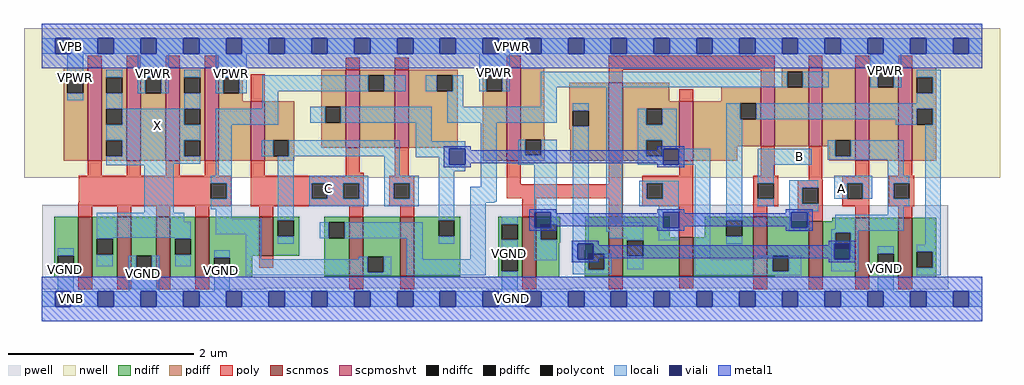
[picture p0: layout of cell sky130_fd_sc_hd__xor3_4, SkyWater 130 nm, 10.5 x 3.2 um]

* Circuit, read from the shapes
.subckt sky130_fd_sc_hd__xor3_4 A B C VGND VNB VPB VPWR X
XM1 X n1 VGND VNB sky130_fd_pr__nfet_01v8 w=0.65 l=0.15 m=4
XM2 n2 C VGND VNB sky130_fd_pr__nfet_01v8 w=0.42 l=0.15
XM3 n1 C n3 VNB sky130_fd_pr__nfet_01v8 w=0.64 l=0.15
XM4 n4 n2 n1 VNB sky130_fd_pr__nfet_01v8 w=0.64 l=0.15
XM5 n5 B VGND VNB sky130_fd_pr__nfet_01v8 w=0.65 l=0.15
XM6 n3 B n6 VNB sky130_fd_pr__nfet_01v8 w=0.64 l=0.15
XM7 n7 n5 n3 VNB sky130_fd_pr__nfet_01v8 w=0.42 l=0.15
XM8 n4 B n7 VNB sky130_fd_pr__nfet_01v8 w=0.64 l=0.15
XM9 n6 n5 n4 VNB sky130_fd_pr__nfet_01v8 w=0.6 l=0.15
XM10 VGND A n6 VNB sky130_fd_pr__nfet_01v8 w=0.64 l=0.15
XM11 n7 n6 VGND VNB sky130_fd_pr__nfet_01v8 w=0.64 l=0.15
XM12 X n1 VPWR VPB sky130_fd_pr__pfet_01v8_hvt w=1 l=0.15 m=4
XM13 n2 C VPWR VPB sky130_fd_pr__pfet_01v8_hvt w=0.64 l=0.15
XM14 n1 C n4 VPB sky130_fd_pr__pfet_01v8_hvt w=0.84 l=0.15
XM15 n3 n2 n1 VPB sky130_fd_pr__pfet_01v8_hvt w=0.84 l=0.15
XM16 n5 B VPWR VPB sky130_fd_pr__pfet_01v8_hvt w=1 l=0.15
XM17 n4 B n6 VPB sky130_fd_pr__pfet_01v8_hvt w=0.84 l=0.15
XM18 n7 n5 n4 VPB sky130_fd_pr__pfet_01v8_hvt w=0.64 l=0.15
XM19 n3 B n7 VPB sky130_fd_pr__pfet_01v8_hvt w=0.64 l=0.15
XM20 n6 n5 n3 VPB sky130_fd_pr__pfet_01v8_hvt w=0.84 l=0.15
XM21 VPWR A n6 VPB sky130_fd_pr__pfet_01v8_hvt w=1 l=0.15
XM22 n7 n6 VPWR VPB sky130_fd_pr__pfet_01v8_hvt w=1 l=0.15
.ends

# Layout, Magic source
magic
tech sky130A
magscale 1 2
<< nwell >>
rect -38 261 2062 582
<< pwell >>
rect 1 201 1637 203
rect 1 23 1951 201
rect 1 21 479 23
rect 956 21 1140 23
rect 1552 21 1951 23
rect 47 -17 81 21
<< scnmos >>
rect 79 47 109 177
rect 163 47 193 177
rect 247 47 277 177
rect 331 47 361 177
rect 468 93 498 177
rect 662 49 692 177
rect 772 49 802 177
rect 1034 47 1064 177
rect 1220 49 1250 177
rect 1372 49 1402 133
rect 1531 49 1561 177
rect 1651 47 1681 167
rect 1751 47 1781 175
rect 1843 47 1873 175
<< scpmoshvt >>
rect 99 297 129 497
rect 183 297 213 497
rect 267 297 297 497
rect 351 297 381 497
rect 450 297 480 425
rect 654 325 684 493
rect 760 325 790 493
rect 1001 297 1031 497
rect 1220 297 1250 465
rect 1372 297 1402 425
rect 1547 329 1577 457
rect 1650 329 1680 497
rect 1751 297 1781 497
rect 1843 297 1873 497
<< ndiff >>
rect 27 93 79 177
rect 27 59 35 93
rect 69 59 79 93
rect 27 47 79 59
rect 109 129 163 177
rect 109 95 119 129
rect 153 95 163 129
rect 109 47 163 95
rect 193 93 247 177
rect 193 59 203 93
rect 237 59 247 93
rect 193 47 247 59
rect 277 129 331 177
rect 277 95 287 129
rect 321 95 331 129
rect 277 47 331 95
rect 361 93 468 177
rect 498 169 554 177
rect 498 135 508 169
rect 542 135 554 169
rect 498 93 554 135
rect 608 165 662 177
rect 608 131 618 165
rect 652 131 662 165
rect 361 89 453 93
rect 361 55 371 89
rect 405 55 453 89
rect 361 47 453 55
rect 608 49 662 131
rect 692 91 772 177
rect 692 57 702 91
rect 736 57 772 91
rect 692 49 772 57
rect 802 169 901 177
rect 802 135 854 169
rect 888 135 901 169
rect 802 49 901 135
rect 982 161 1034 177
rect 982 127 990 161
rect 1024 127 1034 161
rect 982 93 1034 127
rect 982 59 990 93
rect 1024 59 1034 93
rect 982 47 1034 59
rect 1064 161 1116 177
rect 1064 127 1074 161
rect 1108 127 1116 161
rect 1064 121 1116 127
rect 1064 47 1114 121
rect 1170 105 1220 177
rect 1168 97 1220 105
rect 1168 63 1176 97
rect 1210 63 1220 97
rect 1168 49 1220 63
rect 1250 133 1351 177
rect 1427 169 1531 177
rect 1427 135 1473 169
rect 1507 135 1531 169
rect 1427 133 1531 135
rect 1250 126 1372 133
rect 1250 92 1260 126
rect 1294 92 1372 126
rect 1250 49 1372 92
rect 1402 49 1531 133
rect 1561 167 1611 177
rect 1701 167 1751 175
rect 1561 93 1651 167
rect 1561 59 1573 93
rect 1607 59 1651 93
rect 1561 49 1651 59
rect 1578 47 1651 49
rect 1681 142 1751 167
rect 1681 108 1707 142
rect 1741 108 1751 142
rect 1681 47 1751 108
rect 1781 97 1843 175
rect 1781 63 1799 97
rect 1833 63 1843 97
rect 1781 47 1843 63
rect 1873 101 1925 175
rect 1873 67 1883 101
rect 1917 67 1925 101
rect 1873 47 1925 67
<< pdiff >>
rect 47 477 99 497
rect 47 443 55 477
rect 89 443 99 477
rect 47 297 99 443
rect 129 477 183 497
rect 129 443 139 477
rect 173 443 183 477
rect 129 409 183 443
rect 129 375 139 409
rect 173 375 183 409
rect 129 341 183 375
rect 129 307 139 341
rect 173 307 183 341
rect 129 297 183 307
rect 213 477 267 497
rect 213 443 223 477
rect 257 443 267 477
rect 213 297 267 443
rect 297 477 351 497
rect 297 443 307 477
rect 341 443 351 477
rect 297 409 351 443
rect 297 375 307 409
rect 341 375 351 409
rect 297 341 351 375
rect 297 307 307 341
rect 341 307 351 341
rect 297 297 351 307
rect 381 477 433 497
rect 381 443 391 477
rect 425 443 433 477
rect 381 425 433 443
rect 381 297 450 425
rect 480 341 544 425
rect 480 307 498 341
rect 532 307 544 341
rect 602 413 654 493
rect 602 379 610 413
rect 644 379 654 413
rect 602 325 654 379
rect 684 481 760 493
rect 684 447 703 481
rect 737 447 760 481
rect 684 325 760 447
rect 790 481 895 493
rect 790 447 850 481
rect 884 447 895 481
rect 790 325 895 447
rect 949 481 1001 497
rect 949 447 957 481
rect 991 447 1001 481
rect 480 297 544 307
rect 949 297 1001 447
rect 1031 349 1081 497
rect 1135 405 1220 465
rect 1135 371 1143 405
rect 1177 371 1220 405
rect 1135 365 1220 371
rect 1031 343 1083 349
rect 1031 309 1041 343
rect 1075 309 1083 343
rect 1031 297 1083 309
rect 1137 297 1220 365
rect 1250 425 1350 465
rect 1592 489 1650 497
rect 1592 457 1604 489
rect 1462 425 1547 457
rect 1250 409 1372 425
rect 1250 375 1301 409
rect 1335 375 1372 409
rect 1250 341 1372 375
rect 1250 307 1301 341
rect 1335 307 1372 341
rect 1250 297 1372 307
rect 1402 421 1547 425
rect 1402 387 1503 421
rect 1537 387 1547 421
rect 1402 329 1547 387
rect 1577 455 1604 457
rect 1638 455 1650 489
rect 1577 329 1650 455
rect 1680 341 1751 497
rect 1680 329 1707 341
rect 1402 297 1497 329
rect 1695 307 1707 329
rect 1741 307 1751 341
rect 1695 297 1751 307
rect 1781 489 1843 497
rect 1781 455 1799 489
rect 1833 455 1843 489
rect 1781 297 1843 455
rect 1873 477 1925 497
rect 1873 443 1883 477
rect 1917 443 1925 477
rect 1873 409 1925 443
rect 1873 375 1883 409
rect 1917 375 1925 409
rect 1873 297 1925 375
<< ndiffc >>
rect 35 59 69 93
rect 119 95 153 129
rect 203 59 237 93
rect 287 95 321 129
rect 508 135 542 169
rect 618 131 652 165
rect 371 55 405 89
rect 702 57 736 91
rect 854 135 888 169
rect 990 127 1024 161
rect 990 59 1024 93
rect 1074 127 1108 161
rect 1176 63 1210 97
rect 1473 135 1507 169
rect 1260 92 1294 126
rect 1573 59 1607 93
rect 1707 108 1741 142
rect 1799 63 1833 97
rect 1883 67 1917 101
<< pdiffc >>
rect 55 443 89 477
rect 139 443 173 477
rect 139 375 173 409
rect 139 307 173 341
rect 223 443 257 477
rect 307 443 341 477
rect 307 375 341 409
rect 307 307 341 341
rect 391 443 425 477
rect 498 307 532 341
rect 610 379 644 413
rect 703 447 737 481
rect 850 447 884 481
rect 957 447 991 481
rect 1143 371 1177 405
rect 1041 309 1075 343
rect 1301 375 1335 409
rect 1301 307 1335 341
rect 1503 387 1537 421
rect 1604 455 1638 489
rect 1707 307 1741 341
rect 1799 455 1833 489
rect 1883 443 1917 477
rect 1883 375 1917 409
<< poly >>
rect 99 497 129 523
rect 183 497 213 523
rect 267 497 297 523
rect 351 497 381 523
rect 654 493 684 519
rect 760 493 790 519
rect 1001 497 1031 523
rect 450 425 480 483
rect 99 265 129 297
rect 183 265 213 297
rect 267 265 297 297
rect 351 265 381 297
rect 450 265 480 297
rect 654 271 684 325
rect 654 265 693 271
rect 760 265 790 325
rect 1220 493 1577 523
rect 1650 497 1680 523
rect 1751 497 1781 523
rect 1843 497 1873 523
rect 1220 465 1250 493
rect 1547 457 1577 493
rect 1372 425 1402 451
rect 80 249 408 265
rect 80 215 364 249
rect 398 215 408 249
rect 80 207 408 215
rect 79 199 408 207
rect 450 249 693 265
rect 450 215 581 249
rect 615 215 649 249
rect 683 215 693 249
rect 450 199 693 215
rect 748 249 802 265
rect 748 215 758 249
rect 792 215 802 249
rect 1001 247 1031 297
rect 1220 247 1250 297
rect 1372 265 1402 297
rect 1547 265 1577 329
rect 1001 217 1250 247
rect 748 199 802 215
rect 79 177 109 199
rect 163 177 193 199
rect 247 177 277 199
rect 331 177 361 199
rect 468 177 498 199
rect 662 197 693 199
rect 662 177 692 197
rect 772 177 802 199
rect 1034 177 1064 217
rect 1220 177 1250 217
rect 1292 249 1402 265
rect 1292 215 1302 249
rect 1336 215 1402 249
rect 1292 199 1402 215
rect 468 67 498 93
rect 79 21 109 47
rect 163 21 193 47
rect 247 21 277 47
rect 331 21 361 47
rect 662 21 692 49
rect 772 21 802 49
rect 1372 133 1402 199
rect 1531 249 1585 265
rect 1650 256 1680 329
rect 1751 265 1781 297
rect 1843 265 1873 297
rect 1650 255 1681 256
rect 1531 215 1541 249
rect 1575 215 1585 249
rect 1531 199 1585 215
rect 1627 239 1681 255
rect 1627 205 1637 239
rect 1671 205 1681 239
rect 1531 177 1561 199
rect 1627 189 1681 205
rect 1723 249 1781 265
rect 1723 215 1733 249
rect 1767 215 1781 249
rect 1723 199 1781 215
rect 1823 249 1877 265
rect 1823 215 1833 249
rect 1867 215 1877 249
rect 1823 199 1877 215
rect 1651 167 1681 189
rect 1751 175 1781 199
rect 1843 175 1873 199
rect 1034 21 1064 47
rect 1220 21 1250 49
rect 1372 23 1402 49
rect 1531 21 1561 49
rect 1651 21 1681 47
rect 1751 21 1781 47
rect 1843 21 1873 47
<< polycont >>
rect 364 215 398 249
rect 581 215 615 249
rect 649 215 683 249
rect 758 215 792 249
rect 1302 215 1336 249
rect 1541 215 1575 249
rect 1637 205 1671 239
rect 1733 215 1767 249
rect 1833 215 1867 249
<< locali >>
rect 0 527 29 561
rect 63 527 121 561
rect 155 527 213 561
rect 247 527 305 561
rect 339 527 397 561
rect 431 527 489 561
rect 523 527 581 561
rect 615 527 673 561
rect 707 527 765 561
rect 799 527 857 561
rect 891 527 949 561
rect 983 527 1041 561
rect 1075 527 1133 561
rect 1167 527 1225 561
rect 1259 527 1317 561
rect 1351 527 1409 561
rect 1443 527 1501 561
rect 1535 527 1593 561
rect 1627 527 1685 561
rect 1719 527 1777 561
rect 1811 527 1869 561
rect 1903 527 1961 561
rect 1995 527 2024 561
rect 55 477 89 527
rect 55 427 89 443
rect 139 477 173 493
rect 207 477 273 527
rect 207 443 223 477
rect 257 443 273 477
rect 307 477 341 493
rect 375 477 441 527
rect 941 481 1007 527
rect 1783 489 1849 527
rect 375 443 391 477
rect 425 443 441 477
rect 475 447 703 481
rect 737 447 783 481
rect 826 447 850 481
rect 884 447 907 481
rect 941 447 957 481
rect 991 447 1007 481
rect 1074 455 1604 489
rect 1638 455 1693 489
rect 1783 455 1799 489
rect 1833 455 1849 489
rect 1883 477 1935 493
rect 139 409 173 443
rect 307 409 341 443
rect 475 409 509 447
rect 873 413 907 447
rect 1074 413 1108 455
rect 173 375 307 409
rect 139 341 341 375
rect 173 307 307 341
rect 139 291 341 307
rect 375 375 509 409
rect 578 379 610 413
rect 644 379 839 413
rect 873 379 1108 413
rect 1143 405 1177 421
rect 139 288 284 291
rect 221 185 284 288
rect 375 265 409 375
rect 474 307 498 341
rect 532 307 771 341
rect 364 249 409 265
rect 398 215 409 249
rect 364 193 409 215
rect 119 166 307 185
rect 375 173 409 193
rect 119 132 321 166
rect 375 139 473 173
rect 119 129 153 132
rect 35 93 69 109
rect 119 70 153 95
rect 287 129 321 132
rect 35 17 69 59
rect 187 59 203 93
rect 237 59 253 93
rect 287 70 321 95
rect 371 89 405 105
rect 187 17 253 59
rect 371 17 405 55
rect 439 85 473 139
rect 508 169 542 307
rect 737 265 771 307
rect 805 339 839 379
rect 805 323 911 339
rect 805 305 877 323
rect 854 289 877 305
rect 854 275 911 289
rect 576 249 703 265
rect 576 215 581 249
rect 615 215 649 249
rect 683 215 703 249
rect 576 199 703 215
rect 737 249 811 265
rect 737 215 758 249
rect 792 215 811 249
rect 737 199 811 215
rect 854 169 888 275
rect 945 241 979 379
rect 1025 309 1041 343
rect 1075 309 1108 343
rect 1025 289 1108 309
rect 508 119 542 135
rect 598 131 618 165
rect 652 131 820 165
rect 682 85 702 91
rect 439 57 702 85
rect 736 57 752 91
rect 439 51 752 57
rect 786 85 820 131
rect 854 119 888 135
rect 922 210 979 241
rect 922 209 978 210
rect 922 208 976 209
rect 922 207 973 208
rect 922 85 956 207
rect 1060 187 1108 289
rect 786 51 956 85
rect 990 161 1024 177
rect 990 93 1024 127
rect 1060 153 1061 187
rect 1095 161 1108 187
rect 1060 127 1074 153
rect 1060 83 1108 127
rect 1143 119 1177 371
rect 1215 178 1249 455
rect 1917 443 1935 477
rect 1883 421 1935 443
rect 1283 375 1301 409
rect 1335 375 1366 409
rect 1283 341 1366 375
rect 1283 307 1301 341
rect 1335 323 1366 341
rect 1473 387 1503 421
rect 1537 409 1935 421
rect 1537 387 1883 409
rect 1335 307 1337 323
rect 1283 289 1337 307
rect 1371 289 1439 323
rect 1286 249 1371 254
rect 1286 215 1302 249
rect 1336 215 1371 249
rect 1286 199 1371 215
rect 1328 187 1371 199
rect 1215 165 1255 178
rect 1215 144 1294 165
rect 1221 131 1294 144
rect 1260 126 1294 131
rect 1328 153 1337 187
rect 1328 126 1371 153
rect 1143 85 1153 119
rect 990 17 1024 59
rect 1143 63 1176 85
rect 1210 63 1226 97
rect 1260 64 1294 92
rect 1405 85 1439 289
rect 1473 169 1507 387
rect 1838 375 1883 387
rect 1917 375 1935 409
rect 1541 289 1657 323
rect 1691 307 1707 341
rect 1741 307 1855 341
rect 1691 299 1855 307
rect 1541 249 1575 289
rect 1821 265 1855 299
rect 1541 199 1575 215
rect 1609 239 1671 255
rect 1609 205 1637 239
rect 1705 249 1787 265
rect 1705 215 1733 249
rect 1767 215 1787 249
rect 1821 249 1867 265
rect 1821 215 1833 249
rect 1609 189 1671 205
rect 1821 199 1867 215
rect 1609 187 1650 189
rect 1609 153 1613 187
rect 1647 153 1650 187
rect 1821 181 1855 199
rect 1609 146 1650 153
rect 1707 150 1855 181
rect 1699 147 1855 150
rect 1473 119 1507 135
rect 1699 142 1757 147
rect 1699 119 1707 142
rect 1541 85 1573 93
rect 1143 53 1226 63
rect 1405 59 1573 85
rect 1607 59 1634 93
rect 1699 85 1705 119
rect 1741 108 1757 142
rect 1901 117 1935 375
rect 1739 85 1757 108
rect 1699 59 1757 85
rect 1799 97 1833 113
rect 1405 51 1634 59
rect 1799 17 1833 63
rect 1883 101 1935 117
rect 1917 67 1935 101
rect 1883 51 1935 67
rect 0 -17 29 17
rect 63 -17 121 17
rect 155 -17 213 17
rect 247 -17 305 17
rect 339 -17 397 17
rect 431 -17 489 17
rect 523 -17 581 17
rect 615 -17 673 17
rect 707 -17 765 17
rect 799 -17 857 17
rect 891 -17 949 17
rect 983 -17 1041 17
rect 1075 -17 1133 17
rect 1167 -17 1225 17
rect 1259 -17 1317 17
rect 1351 -17 1409 17
rect 1443 -17 1501 17
rect 1535 -17 1593 17
rect 1627 -17 1685 17
rect 1719 -17 1777 17
rect 1811 -17 1869 17
rect 1903 -17 1961 17
rect 1995 -17 2024 17
<< viali >>
rect 29 527 63 561
rect 121 527 155 561
rect 213 527 247 561
rect 305 527 339 561
rect 397 527 431 561
rect 489 527 523 561
rect 581 527 615 561
rect 673 527 707 561
rect 765 527 799 561
rect 857 527 891 561
rect 949 527 983 561
rect 1041 527 1075 561
rect 1133 527 1167 561
rect 1225 527 1259 561
rect 1317 527 1351 561
rect 1409 527 1443 561
rect 1501 527 1535 561
rect 1593 527 1627 561
rect 1685 527 1719 561
rect 1777 527 1811 561
rect 1869 527 1903 561
rect 1961 527 1995 561
rect 877 289 911 323
rect 1061 161 1095 187
rect 1061 153 1074 161
rect 1074 153 1095 161
rect 1337 289 1371 323
rect 1337 153 1371 187
rect 1153 97 1187 119
rect 1153 85 1176 97
rect 1176 85 1187 97
rect 1613 153 1647 187
rect 1705 108 1707 119
rect 1707 108 1739 119
rect 1705 85 1739 108
rect 29 -17 63 17
rect 121 -17 155 17
rect 213 -17 247 17
rect 305 -17 339 17
rect 397 -17 431 17
rect 489 -17 523 17
rect 581 -17 615 17
rect 673 -17 707 17
rect 765 -17 799 17
rect 857 -17 891 17
rect 949 -17 983 17
rect 1041 -17 1075 17
rect 1133 -17 1167 17
rect 1225 -17 1259 17
rect 1317 -17 1351 17
rect 1409 -17 1443 17
rect 1501 -17 1535 17
rect 1593 -17 1627 17
rect 1685 -17 1719 17
rect 1777 -17 1811 17
rect 1869 -17 1903 17
rect 1961 -17 1995 17
<< metal1 >>
rect 0 561 2024 592
rect 0 527 29 561
rect 63 527 121 561
rect 155 527 213 561
rect 247 527 305 561
rect 339 527 397 561
rect 431 527 489 561
rect 523 527 581 561
rect 615 527 673 561
rect 707 527 765 561
rect 799 527 857 561
rect 891 527 949 561
rect 983 527 1041 561
rect 1075 527 1133 561
rect 1167 527 1225 561
rect 1259 527 1317 561
rect 1351 527 1409 561
rect 1443 527 1501 561
rect 1535 527 1593 561
rect 1627 527 1685 561
rect 1719 527 1777 561
rect 1811 527 1869 561
rect 1903 527 1961 561
rect 1995 527 2024 561
rect 0 496 2024 527
rect 865 323 923 329
rect 865 289 877 323
rect 911 320 923 323
rect 1325 323 1383 329
rect 1325 320 1337 323
rect 911 292 1337 320
rect 911 289 923 292
rect 865 283 923 289
rect 1325 289 1337 292
rect 1371 289 1383 323
rect 1325 283 1383 289
rect 1049 187 1107 193
rect 1049 153 1061 187
rect 1095 184 1107 187
rect 1325 187 1383 193
rect 1325 184 1337 187
rect 1095 156 1337 184
rect 1095 153 1107 156
rect 1049 147 1107 153
rect 1325 153 1337 156
rect 1371 184 1383 187
rect 1601 187 1659 193
rect 1601 184 1613 187
rect 1371 156 1613 184
rect 1371 153 1383 156
rect 1325 147 1383 153
rect 1601 153 1613 156
rect 1647 153 1659 187
rect 1601 147 1659 153
rect 1141 119 1199 125
rect 1141 85 1153 119
rect 1187 116 1199 119
rect 1693 119 1751 125
rect 1693 116 1705 119
rect 1187 88 1705 116
rect 1187 85 1199 88
rect 1141 79 1199 85
rect 1693 85 1705 88
rect 1739 85 1751 119
rect 1693 79 1751 85
rect 0 17 2024 48
rect 0 -17 29 17
rect 63 -17 121 17
rect 155 -17 213 17
rect 247 -17 305 17
rect 339 -17 397 17
rect 431 -17 489 17
rect 523 -17 581 17
rect 615 -17 673 17
rect 707 -17 765 17
rect 799 -17 857 17
rect 891 -17 949 17
rect 983 -17 1041 17
rect 1075 -17 1133 17
rect 1167 -17 1225 17
rect 1259 -17 1317 17
rect 1351 -17 1409 17
rect 1443 -17 1501 17
rect 1535 -17 1593 17
rect 1627 -17 1685 17
rect 1719 -17 1777 17
rect 1811 -17 1869 17
rect 1903 -17 1961 17
rect 1995 -17 2024 17
rect 0 -48 2024 -17
<< labels >>
flabel locali s 233 357 267 391 0 FreeSans 340 0 0 0 X
port 8 nsew signal output
flabel locali s 601 221 635 255 0 FreeSans 340 0 0 0 C
port 3 nsew signal input
flabel locali s 1613 289 1647 323 0 FreeSans 340 0 0 0 B
port 2 nsew signal input
flabel locali s 1705 221 1739 255 0 FreeSans 340 0 0 0 A
port 1 nsew signal input
flabel pwell s 47 -17 81 17 0 FreeSans 200 0 0 0 VNB
port 5 nsew ground bidirectional
flabel nwell s 47 527 81 561 0 FreeSans 200 0 0 0 VPB
port 6 nsew power bidirectional
flabel locali s 1799 17 1833 113 0 FreeSans 200 0 0 0 VGND
port 4 nsew ground bidirectional abutment
flabel locali s 1783 455 1849 527 0 FreeSans 200 0 0 0 VPWR
port 7 nsew power bidirectional abutment
rlabel comment s 0 0 0 0 4 hkscl5hdv1_xor3_1
flabel comment s 0 544 0 544 3 FreeSans 200 0 0 0 HHNEC
rlabel locali s 990 17 1024 177 1 VGND
port 4 nsew ground bidirectional abutment
rlabel locali s 371 17 405 105 1 VGND
port 4 nsew ground bidirectional abutment
rlabel locali s 187 17 253 93 1 VGND
port 4 nsew ground bidirectional abutment
rlabel locali s 35 17 69 109 1 VGND
port 4 nsew ground bidirectional abutment
rlabel locali s 0 -17 2024 17 1 VGND
port 4 nsew ground bidirectional abutment
rlabel locali s 941 447 1007 527 1 VPWR
port 7 nsew power bidirectional abutment
rlabel locali s 375 443 441 527 1 VPWR
port 7 nsew power bidirectional abutment
rlabel locali s 207 443 273 527 1 VPWR
port 7 nsew power bidirectional abutment
rlabel locali s 55 427 89 527 1 VPWR
port 7 nsew power bidirectional abutment
rlabel locali s 0 527 2024 561 1 VPWR
port 7 nsew power bidirectional abutment
<< properties >>
string FIXED_BBOX 0 0 2024 544
string GDS_END 698948
string GDS_FILE $PDKPATH/libs.ref/sky130_fd_sc_hd/gds/sky130_fd_sc_hd.gds
string GDS_START 685650
string LEFclass CORE
string LEFsite unithd
string LEFsymmetry X Y R90
string path 0.000 0.000 10.120 0.000 
<< end >>
